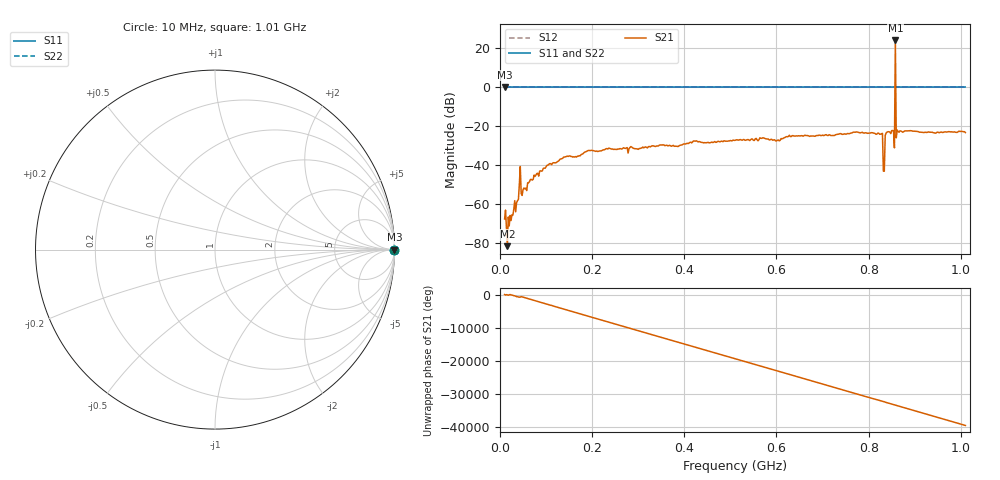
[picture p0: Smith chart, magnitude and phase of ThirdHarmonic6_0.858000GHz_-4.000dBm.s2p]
! 8/16/2025 4:22:02 AM
! C:\ANRITSUVNA\TEMP\TEMP.S2P
! CHANNEL.1
! TR.MEASUREMENT
! RAW.DATA
! RF.CORRECTION.OFF
! AVERAGING.OFF
! IF.BANDWIDTH: 5KHZ
! SWEEPTYPE:  FREQ.SWEEP(Linear)
! Reference Plane Port Info
! PORT:  PORT1  PORT2
! DISTANCE:  0  m  0  m
! TIME:  0  s  0  s
! PHASE.OFFSET:  0  deg.  0  deg.
! LOSS:  0  dB  0  dB
! REF.LOSS:  0  dB  0  dB
! REF.FREQ:  0  Hz  0  Hz
! Power Info
! POWER:  -20  dBm  -20  dBm
! EFF.POWER:  -20  dBm  -20  dBm
! SOURCE.ATTEN:  0  dB  0  dB
! TEST.ATTEN:  0  dB  0  dB
# GHZ S RI R 50.0
! FREQ.GHZ  S11RE  S11IM  S21RE  S21IM  S12RE  S12IM  S22RE  S22IM
!; PortSelection: Port_12
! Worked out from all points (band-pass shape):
!   501 points, 10 MHz to 1.01 GHz, reference 50 ohm
!   highest |S21| = 23.89 dB at 858 MHz (marker M1); lowest = -81.6 dB at 16 MHz (marker M2)
!   |S21| within 3 dB of the highest: 857.891 MHz to 858.1202 MHz (229.2 kHz wide, 0.0267 % of centre)
!   lowest |S11| = 0.0 dB at 10 MHz (marker M3)
!   |S11| at or under -10 dB: nowhere
!   |S22| runs from 0.0 to 0.0 dB; largest |S21 - S12| = 16
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0.01  1 0  0.000255 0.000329  1 0  1 0
0.016  1 0  6.53e-05 -5.22e-05  1 0  1 0
0.02  1 0  0.000273 -4.33e-05  1 0  1 0
0.046  1 0  -0.00166 0.000877  1 0  1 0
0.05  1 0  0.00225 -0.000664  1 0  1 0
0.106  1 0  -0.00732 -0.00744  1 0  1 0
0.178  1 0  -0.0184 -0.0047  1 0  1 0
0.344  1 0  0.0305 -0.00523  1 0  1 0
0.51  1 0  -0.0414 0.012  1 0  1 0
0.678  1 0  -0.0191 -0.0523  1 0  1 0
0.826  1 0  0.0366 0.0502  1 0  1 0
0.83  1 0  -0.0187 -0.0622  1 0  1 0
0.832  1 0  -0.00615 -0.00334  1 0  1 0
0.836  1 0  0.0551 0.0168  1 0  1 0
0.84  1 0  -0.0573 -0.0399  1 0  1 0
0.844  1 0  0.0443 0.0562  1 0  1 0
0.852  1 0  -0.000686 0.0769  1 0  1 0
0.854  1 0  0.0759 0.00964  1 0  1 0
0.858  1 0  -11.25 -10.89  1 0  1 0
0.862  1 0  0.0622 0.0492  1 0  1 0
0.864  1 0  0.0538 -0.049  1 0  1 0
1.01  1 0  -0.0625 -0.0276  1 0  1 0
